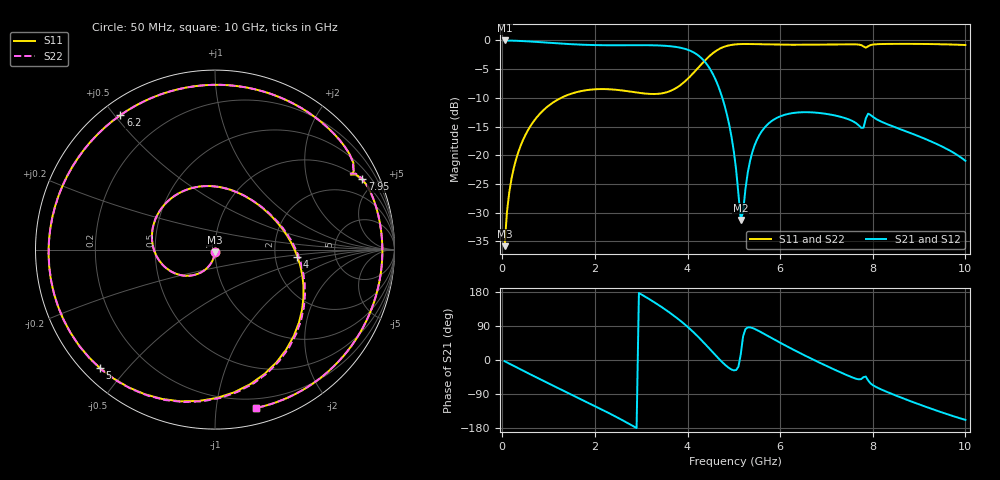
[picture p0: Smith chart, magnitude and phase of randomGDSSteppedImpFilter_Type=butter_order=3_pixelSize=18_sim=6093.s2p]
! freq	dB(S11)	phase(S11)	dB(S12)	phase(S12)
!  dB(S21)	phase(S21)	dB(S22)	phase(S22)
!S-par simulation data
#  GHz  S  DB  R 50
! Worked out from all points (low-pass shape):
!   200 points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, 50 MHz to 10 GHz, reference 50 ohm
!   highest |S21| = -0.01 dB at 50 MHz (marker M1); lowest = -31.3 dB at 5.15 GHz (marker M2)
!   |S21| within 3 dB of the highest: start of sweep to 4.29 GHz
!   lowest |S11| = -35.8 dB at 50 MHz (marker M3), VSWR 1.03, Z = 49.9 - j1.61 ohm
!   |S11| at or under -10 dB: start of sweep to 1.272 GHz
!   |S22| runs from -35.8 to -0.6 dB; largest |S21 - S12| = 0
!   S11 on the Smith chart (normalised r, x): 50 MHz: 1.00, -0.03; 4 GHz: 2.68, -0.26; 5 GHz: 0.05, -0.42; 6.2 GHz: 0.06, +0.52; 7.95 GHz: 0.93, +4.23; 10 GHz: 0.12, -1.28
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0.05  -35.84 -92.0  -0.01 -3.2  -0.01 -3.2  -35.84 -92.0
0.2  -24.05 -102.6  -0.04 -12.6  -0.04 -12.6  -24.05 -102.6
0.5  -16.45 -121.9  -0.14 -31.3  -0.14 -31.3  -16.45 -121.8
1.1  -10.80 -158.5  -0.46 -67.8  -0.46 -67.8  -10.80 -158.4
1.75  -8.75 162.8  -0.76 -106.5  -0.76 -106.5  -8.75 163.1
2.7  -8.84 103.4  -0.84 -165.9  -0.84 -165.9  -8.83 104.3
3.4  -9.28 51.9  -0.89 143.0  -0.89 143.0  -9.27 53.5
4  -6.72 -4.8  -1.62 87.7  -1.62 87.7  -6.72 -2.9
4.45  -2.91 -61.4  -4.53 32.9  -4.53 32.9  -2.91 -59.8
4.7  -1.43 -96.1  -8.76 0.3  -8.76 0.3  -1.43 -94.7
5  -0.72 -134.1  -19.36 -27.4  -19.36 -27.4  -0.73 -132.9
5.05  -0.68 -139.8  -22.59 -26.5  -22.59 -26.5  -0.68 -138.6
5.15  -0.64 -150.5  -31.29 15.5  -31.29 15.5  -0.64 -149.5
5.35  -0.63 -170.0  -20.99 86.2  -20.99 86.2  -0.64 -169.1
5.5  -0.66 176.8  -17.28 79.1  -17.28 79.1  -0.66 177.7
6.2  -0.76 125.1  -12.76 32.6  -12.76 32.6  -0.76 125.8
6.7  -0.75 93.5  -12.54 1.9  -12.54 1.9  -0.75 94.0
7.45  -0.68 49.7  -13.66 -40.5  -13.66 -40.5  -0.68 50.2
7.95  -0.82 25.5  -12.97 -61.4  -12.97 -61.4  -0.82 25.7
8.35  -0.61 3.8  -14.71 -86.4  -14.71 -86.4  -0.61 4.1
9.1  -0.62 -32.7  -17.05 -121.5  -17.05 -121.5  -0.62 -32.5
10  -0.80 -75.5  -20.96 -158.0  -20.96 -158.0  -0.80 -75.3
